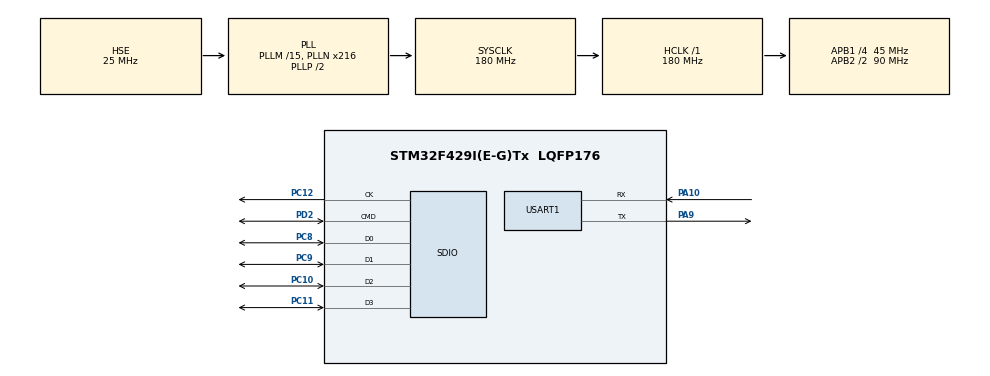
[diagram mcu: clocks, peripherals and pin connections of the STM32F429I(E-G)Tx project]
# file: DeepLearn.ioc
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Dma.Request0=SDIO_RX
Dma.Request1=SDIO_TX
Dma.SDIO_RX.0.Direction=DMA_PERIPH_TO_MEMORY
Dma.SDIO_RX.0.FIFOMode=DMA_FIFOMODE_ENABLE
Dma.SDIO_RX.0.FIFOThreshold=DMA_FIFO_THRESHOLD_FULL
Dma.SDIO_RX.0.Instance=DMA2_Stream3
Dma.SDIO_RX.0.MemBurst=DMA_MBURST_INC4
Dma.SDIO_RX.0.MemDataAlignment=DMA_MDATAALIGN_WORD
Dma.SDIO_RX.0.MemInc=DMA_MINC_ENABLE
Dma.SDIO_RX.0.Mode=DMA_PFCTRL
Dma.SDIO_RX.0.PeriphBurst=DMA_PBURST_INC4
Dma.SDIO_RX.0.PeriphDataAlignment=DMA_PDATAALIGN_WORD
Dma.SDIO_RX.0.PeriphInc=DMA_PINC_DISABLE
Dma.SDIO_RX.0.Priority=DMA_PRIORITY_LOW
Dma.SDIO_TX.1.Direction=DMA_MEMORY_TO_PERIPH
Dma.SDIO_TX.1.FIFOMode=DMA_FIFOMODE_ENABLE
Dma.SDIO_TX.1.FIFOThreshold=DMA_FIFO_THRESHOLD_FULL
Dma.SDIO_TX.1.Instance=DMA2_Stream6
Dma.SDIO_TX.1.MemBurst=DMA_MBURST_INC4
Dma.SDIO_TX.1.MemDataAlignment=DMA_MDATAALIGN_WORD
Dma.SDIO_TX.1.MemInc=DMA_MINC_ENABLE
Dma.SDIO_TX.1.Mode=DMA_PFCTRL
Dma.SDIO_TX.1.PeriphBurst=DMA_PBURST_INC4
Dma.SDIO_TX.1.PeriphDataAlignment=DMA_PDATAALIGN_WORD
Dma.SDIO_TX.1.PeriphInc=DMA_PINC_DISABLE
Dma.SDIO_TX.1.Priority=DMA_PRIORITY_LOW
FATFS._MAX_LFN=25
FATFS._STRF_ENCODE=0
FATFS._USE_LFN=2
Mcu.Family=STM32F4
Mcu.Name=STM32F429I(E-G)Tx
Mcu.Package=LQFP176
NVIC.DMA2_Stream3_IRQn=true\:0\:0\:false\:false\:true\:false
NVIC.DMA2_Stream6_IRQn=true\:0\:0\:false\:false\:true\:false
NVIC.PriorityGroup=NVIC_PRIORITYGROUP_4
NVIC.SDIO_IRQn=true\:0\:0\:false\:false\:true\:true
PA10.Mode=Asynchronous
PA10.Signal=USART1_RX
PA13.Mode=Serial_Wire
PA13.Signal=SYS_JTMS-SWDIO
PA14.Mode=Serial_Wire
PA14.Signal=SYS_JTCK-SWCLK
PA9.Mode=Asynchronous
PA9.Signal=USART1_TX
PC10.Mode=SD_4_bits_Wide_bus
PC10.Signal=SDIO_D2
PC11.Mode=SD_4_bits_Wide_bus
PC11.Signal=SDIO_D3
PC12.Mode=SD_4_bits_Wide_bus
PC12.Signal=SDIO_CK
PC8.Mode=SD_4_bits_Wide_bus
PC8.Signal=SDIO_D0
PC9.Mode=SD_4_bits_Wide_bus
PC9.Signal=SDIO_D1
PD2.Mode=SD_4_bits_Wide_bus
PD2.Signal=SDIO_CMD
PH0/OSC_IN.Mode=HSE-External-Oscillator
PH0/OSC_IN.Signal=RCC_OSC_IN
PH1/OSC_OUT.Mode=HSE-External-Oscillator
PH1/OSC_OUT.Signal=RCC_OSC_OUT
ProjectManager.HeapSize=0x200
ProjectManager.StackSize=0x800
ProjectManager.TargetToolchain=MDK-ARM V5
RCC.48MHZClocksFreq_Value=45000000
RCC.AHBFreq_Value=180000000
RCC.APB1CLKDivider=RCC_HCLK_DIV4
RCC.APB1Freq_Value=45000000
RCC.APB1TimFreq_Value=90000000
RCC.APB2CLKDivider=RCC_HCLK_DIV2
RCC.APB2Freq_Value=90000000
RCC.APB2TimFreq_Value=180000000
RCC.CortexFreq_Value=180000000
RCC.HCLKFreq_Value=180000000
RCC.HSE_VALUE=25000000
RCC.HSI_VALUE=16000000
RCC.LSE_VALUE=32768
RCC.PLLM=15
RCC.PLLN=216
RCC.PLLQ=8
RCC.PLLSourceVirtual=RCC_PLLSOURCE_HSE
RCC.SYSCLKFreq_VALUE=180000000
RCC.SYSCLKSource=RCC_SYSCLKSOURCE_PLLCLK
RCC.VCOOutputFreq_Value=360000000
USART1.VirtualMode=VM_ASYNC
VP_FATFS_VS_SDIO.Mode=SDIO
board=custom

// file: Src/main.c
/**
  ******************************************************************************
  * @file           : main.c
  * @brief          : Main program body
  ******************************************************************************
  * This notice applies to any and all portions of this file
  * that are not between comment pairs USER CODE BEGIN and
  * USER CODE END. Other portions of this file, whether
  * inserted by the user or by software development tools
  * are owned by their respective copyright owners.
  *
  * Copyright (c) 2019 STMicroelectronics International N.V.
  * All rights reserved.
  *
  * Redistribution and use in source and binary forms, with or without
  * modification, are permitted, provided that the following conditions are met:
  *
  * 1. Redistribution of source code must retain the above copyright notice,
  *    this list of conditions and the following disclaimer.
  * 2. Redistributions in binary form must reproduce the above copyright notice,
  *    this list of conditions and the following disclaimer in the documentation
  *    and/or other materials provided with the distribution.
  * 3. Neither the name of STMicroelectronics nor the names of other
  *    contributors to this software may be used to endorse or promote products
  *    derived from this software without specific written permission.
  * 4. This software, including modifications and/or derivative works of this
  *    software, must execute solely and exclusively on microcontroller or
  *    microprocessor devices manufactured by or for STMicroelectronics.
  * 5. Redistribution and use of this software other than as permitted under
  *    this license is void and will automatically terminate your rights under
  *    this license.
  *
  * THIS SOFTWARE IS PROVIDED BY STMICROELECTRONICS AND CONTRIBUTORS "AS IS"
  * AND ANY EXPRESS, IMPLIED OR STATUTORY WARRANTIES, INCLUDING, BUT NOT
  * LIMITED TO, THE IMPLIED WARRANTIES OF MERCHANTABILITY, FITNESS FOR A
  * PARTICULAR PURPOSE AND NON-INFRINGEMENT OF THIRD PARTY INTELLECTUAL PROPERTY
  * RIGHTS ARE DISCLAIMED TO THE FULLEST EXTENT PERMITTED BY LAW. IN NO EVENT
  * SHALL STMICROELECTRONICS OR CONTRIBUTORS BE LIABLE FOR ANY DIRECT, INDIRECT,
  * INCIDENTAL, SPECIAL, EXEMPLARY, OR CONSEQUENTIAL DAMAGES (INCLUDING, BUT NOT
  * LIMITED TO, PROCUREMENT OF SUBSTITUTE GOODS OR SERVICES; LOSS OF USE, DATA,
  * OR PROFITS; OR BUSINESS INTERRUPTION) HOWEVER CAUSED AND ON ANY THEORY OF
  * LIABILITY, WHETHER IN CONTRACT, STRICT LIABILITY, OR TORT (INCLUDING
  * NEGLIGENCE OR OTHERWISE) ARISING IN ANY WAY OUT OF THE USE OF THIS SOFTWARE,
  * EVEN IF ADVISED OF THE POSSIBILITY OF SUCH DAMAGE.
  *
  ******************************************************************************
  */
#include "main.h"
#include "stm32f4xx_hal.h"
#include "dma.h"
#include "fatfs.h"
#include "sdio.h"
#include "usart.h"
#include "gpio.h"

/* USER CODE BEGIN Includes */
#include "matrix_2.h"

/* USER CODE END Includes */

/* USER CODE BEGIN PV */
/* Private variables ---------------------------------------------------------*/

/* USER CODE END PV */

void SystemClock_Config(void);

/* USER CODE BEGIN PFP */
/* Private function prototypes -----------------------------------------------*/

/* USER CODE END PFP */

int main(void)
{

  /* MCU Configuration----------------------------------------------------------*/

  /* Reset of all peripherals, Initializes the Flash interface and the Systick. */
  HAL_Init();

  /* Configure the system clock */
  SystemClock_Config();

  /* Initialize all configured peripherals */
  MX_GPIO_Init();
  MX_DMA_Init();
  MX_USART1_UART_Init();
  MX_SDIO_SD_Init();
  MX_FATFS_Init();
  /* USER CODE BEGIN 2 */
	printf("\r\nstart:\r\n");

	u8 a0[] = {
		1,2,
		3,4,
		5,6
	};

	float a1[] = {
			3,1,2,
			-5,4,1.1,
	};
	float a2[] = {
		0,5,
		3,2,
		10,0.5f
	};

	matrixStr* mat0 = matMalloc(3,2,_UCHAR);
	matApendDat(mat0,a0);
	PrintMat(mat0);

	matrixStr* mat1 = matMalloc(2,3,_FLOAT);
	matApendDat(mat1,a1);
	PrintMat(mat1);

	matrixStr* mat2 = matMalloc(3,2,_FLOAT);
	matApendDat(mat2,a2);
	PrintMat(mat2);

	matIteraAlgorithm(mat0,mat2,SUB);

	PrintMat(mat0);
	PrintMat(mat1);
	PrintMat(mat2);

	matrixStr* mat4 = matDot(mat1,mat2);
	PrintMat(mat4);
printf("生成mat2的转置");
	matrixStr* mat5 = matrix_T(mat2);
	PrintMat(mat5);
	printf("生成1列1");
	matrixStr* mat6 = matrix_One(mat2->rows,1);
	PrintMat(mat6);
	matrixStr* mat7 = matrix_Append(mat2,mat6,vertical);
	PrintMat(mat7);

	matrixStr* mat8 = matrix_CutOut(mat2,vertical,0,0);
	PrintMat(mat8);

  /* USER CODE END 2 */

  /* Infinite loop */
  while (1)
  {

  }

}

void SystemClock_Config(void)
{

  RCC_OscInitTypeDef RCC_OscInitStruct;
  RCC_ClkInitTypeDef RCC_ClkInitStruct;

    /**Configure the main internal regulator output voltage
    */
  __HAL_RCC_PWR_CLK_ENABLE();

  __HAL_PWR_VOLTAGESCALING_CONFIG(PWR_REGULATOR_VOLTAGE_SCALE1);

    /**Initializes the CPU, AHB and APB busses clocks
    */
  RCC_OscInitStruct.OscillatorType = RCC_OSCILLATORTYPE_HSE;
  RCC_OscInitStruct.HSEState = RCC_HSE_ON;
  RCC_OscInitStruct.PLL.PLLState = RCC_PLL_ON;
  RCC_OscInitStruct.PLL.PLLSource = RCC_PLLSOURCE_HSE;
  RCC_OscInitStruct.PLL.PLLM = 15;
  RCC_OscInitStruct.PLL.PLLN = 216;
  RCC_OscInitStruct.PLL.PLLP = RCC_PLLP_DIV2;
  RCC_OscInitStruct.PLL.PLLQ = 8;
  if (HAL_RCC_OscConfig(&RCC_OscInitStruct) != HAL_OK)
  {
    _Error_Handler(__FILE__, __LINE__);
  }

    /**Activate the Over-Drive mode
    */
  if (HAL_PWREx_EnableOverDrive() != HAL_OK)
  {
    _Error_Handler(__FILE__, __LINE__);
  }

    /**Initializes the CPU, AHB and APB busses clocks
    */
  RCC_ClkInitStruct.ClockType = RCC_CLOCKTYPE_HCLK|RCC_CLOCKTYPE_SYSCLK
                              |RCC_CLOCKTYPE_PCLK1|RCC_CLOCKTYPE_PCLK2;
  RCC_ClkInitStruct.SYSCLKSource = RCC_SYSCLKSOURCE_PLLCLK;
  RCC_ClkInitStruct.AHBCLKDivider = RCC_SYSCLK_DIV1;
  RCC_ClkInitStruct.APB1CLKDivider = RCC_HCLK_DIV4;
  RCC_ClkInitStruct.APB2CLKDivider = RCC_HCLK_DIV2;

  if (HAL_RCC_ClockConfig(&RCC_ClkInitStruct, FLASH_LATENCY_5) != HAL_OK)
  {
    _Error_Handler(__FILE__, __LINE__);
  }

    /**Configure the Systick interrupt time
    */
  HAL_SYSTICK_Config(HAL_RCC_GetHCLKFreq()/1000);

    /**Configure the Systick
    */
  HAL_SYSTICK_CLKSourceConfig(SYSTICK_CLKSOURCE_HCLK);

  /* SysTick_IRQn interrupt configuration */
  HAL_NVIC_SetPriority(SysTick_IRQn, 0, 0);
}

void _Error_Handler(char *file, int line)
{
  /* USER CODE BEGIN Error_Handler_Debug */
  /* User can add his own implementation to report the HAL error return state */
	printf("FILE :%s ,line : %d\r\n",file,line);
  while(1)
  {
  }
  /* USER CODE END Error_Handler_Debug */
}

/************************ (C) COPYRIGHT STMicroelectronics *****END OF FILE****/
